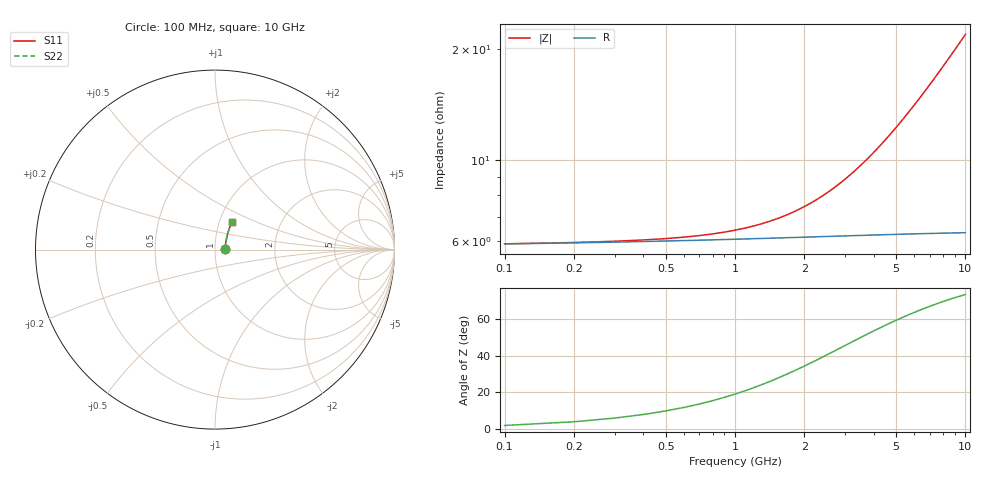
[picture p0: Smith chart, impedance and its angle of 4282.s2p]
# Hz S RI R 50.00
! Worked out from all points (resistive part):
!   100 points, 100 MHz to 10 GHz, reference 50 ohm
!   read as one part in series: R = 5.9 ohm at 100 MHz
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1e8  0.0558 0.00161  0.9442 -0.00214  0.9442 -0.00214  0.0558 0.00161
6e8  0.057 0.00963  0.943 -0.0128  0.943 -0.0128  0.057 0.00963
8e8  0.0574 0.0128  0.9426 -0.0171  0.9426 -0.0171  0.0574 0.0128
1e9  0.0577 0.016  0.9423 -0.0213  0.9423 -0.0213  0.0577 0.016
1.2e9  0.058 0.0192  0.9419 -0.0256  0.9419 -0.0256  0.058 0.0192
1.4e9  0.0584 0.0224  0.9416 -0.0298  0.9416 -0.0298  0.0584 0.0224
1.8e9  0.0591 0.0288  0.9408 -0.0383  0.9408 -0.0383  0.0591 0.0288
2.1e9  0.0597 0.0336  0.9402 -0.0447  0.9402 -0.0447  0.0597 0.0336
2.4e9  0.0603 0.0383  0.9396 -0.051  0.9396 -0.051  0.0603 0.0383
3.4e9  0.0628 0.0541  0.937 -0.0721  0.937 -0.0721  0.0628 0.0541
4.3e9  0.0656 0.0682  0.9341 -0.0909  0.9341 -0.0909  0.0656 0.0682
5.1e9  0.0685 0.0805  0.9311 -0.1076  0.9311 -0.1076  0.0685 0.0805
5.5e9  0.0701 0.0867  0.9295 -0.1158  0.9295 -0.1158  0.0701 0.0867
5.9e9  0.0718 0.0928  0.9277 -0.124  0.9277 -0.124  0.0718 0.0928
6.3e9  0.0736 0.0988  0.9258 -0.1322  0.9258 -0.1322  0.0736 0.0988
6.7e9  0.0755 0.1049  0.9238 -0.1404  0.9238 -0.1404  0.0755 0.1049
7.1e9  0.0775 0.1108  0.9218 -0.1485  0.9218 -0.1485  0.0775 0.1108
7.5e9  0.0796 0.1168  0.9196 -0.1566  0.9196 -0.1566  0.0796 0.1168
7.9e9  0.0818 0.1227  0.9173 -0.1646  0.9173 -0.1646  0.0818 0.1227
8.4e9  0.0847 0.13  0.9142 -0.1745  0.9142 -0.1745  0.0847 0.13
9.2e9  0.0897 0.1414  0.9091 -0.1903  0.9091 -0.1903  0.0897 0.1414
1e10  0.095 0.1527  0.9035 -0.2058  0.9035 -0.2058  0.095 0.1527
